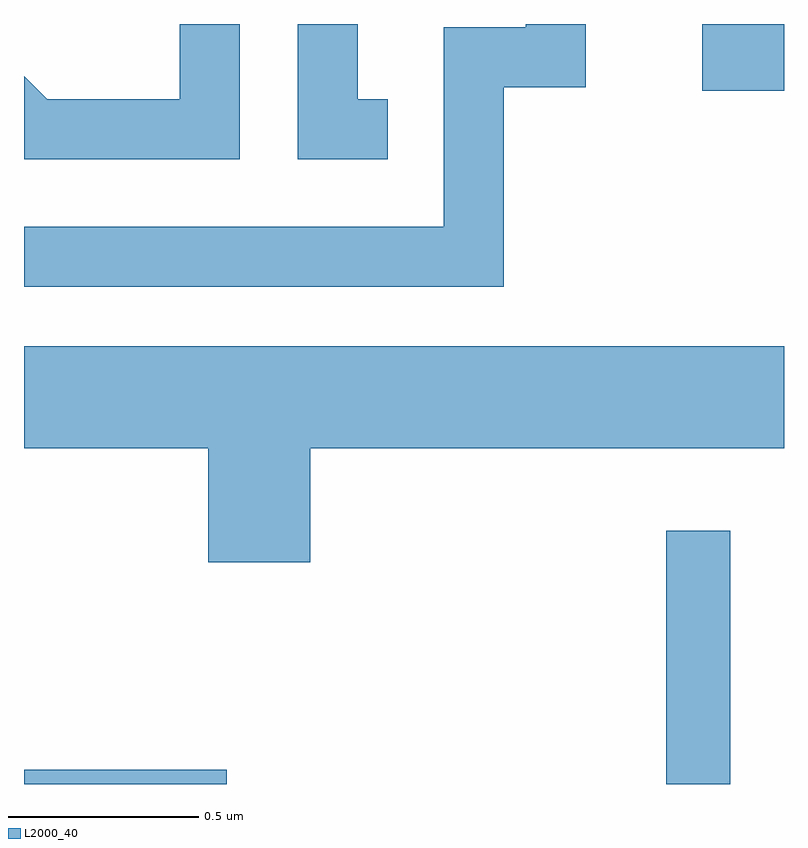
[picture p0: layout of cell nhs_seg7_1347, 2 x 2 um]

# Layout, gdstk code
import gdstk
lib = gdstk.Library(unit=1e-6, precision=1e-09)
def R(c, l, rs):  # rectangles x0, y0, x1, y1
    for r in rs: c.add(gdstk.rectangle(r[:2], r[2:], *l))
def P(c, l, *ps):  # polygons
    for p in ps: c.add(gdstk.Polygon(p, *l))
L2000_40 = (2000, 40)

nhs_seg7_1347 = lib.new_cell('nhs_seg7_1347')
R(nhs_seg7_1347, L2000_40, [(194.611,1782.252,195.144,1782.289), (196.301,1782.252,196.469,1782.918), (196.396,1784.076,196.611,1784.252)])
P(nhs_seg7_1347, L2000_40, [(195.179,1784.252),(195.021,1784.252),(195.021,1784.054),(194.672,1784.054),(194.611,1784.115),(194.611,1783.896),(195.179,1783.896)],
  [(195.568,1784.054),(195.489,1784.054),(195.489,1784.252),(195.331,1784.252),(195.331,1783.896),(195.568,1783.896)],
  [(195.874,1784.086),(196.089,1784.086),(196.089,1784.252),(195.931,1784.252),(195.931,1784.244),(195.716,1784.244),(195.716,1783.719),(194.611,1783.719),(194.611,1783.561),(195.874,1783.561)],
  [(195.364,1783.136),(196.611,1783.136),(196.611,1783.404),(194.611,1783.404),(194.611,1783.136),(195.096,1783.136),(195.096,1782.836),(195.364,1782.836)])

lib.write_gds('nhs_seg7_1347.gds')
